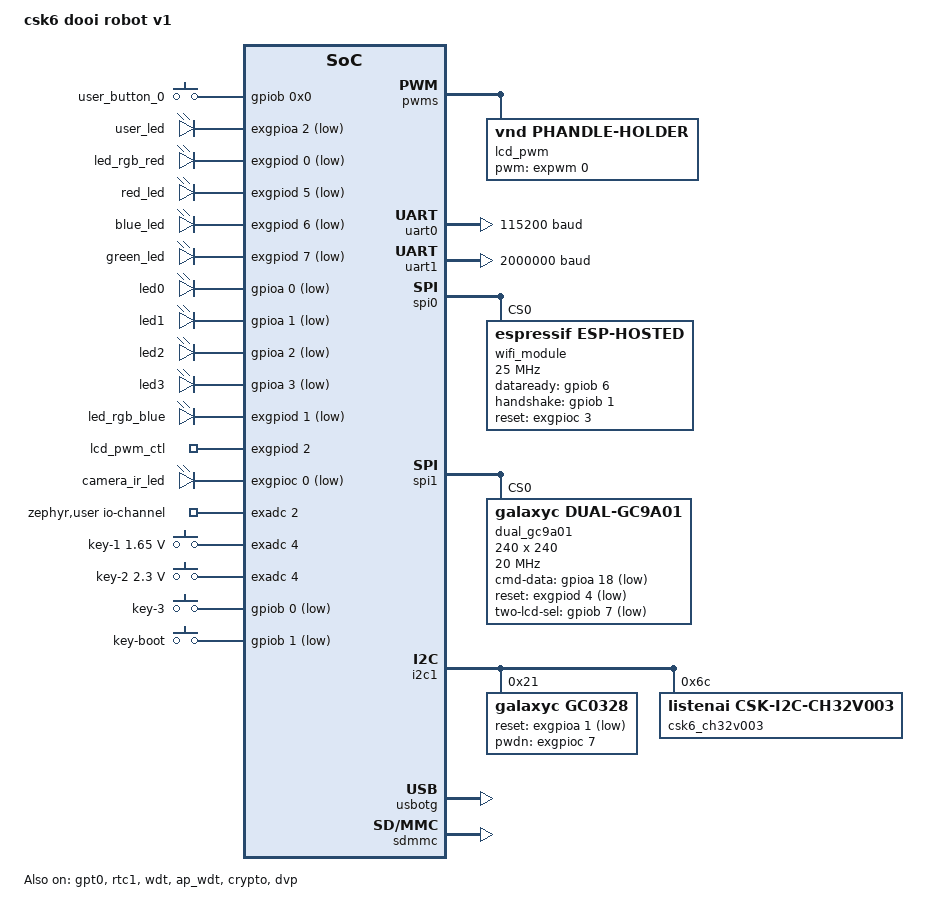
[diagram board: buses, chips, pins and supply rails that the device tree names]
/* SPDX-License-Identifier: Apache-2.0 */

/dts-v1/;
#include <csk/csk6011a.dtsi>
#include <zephyr/dt-bindings/dt-util.h>
#include <zephyr/dt-bindings/adc/adc.h>
#include <zephyr/dt-bindings/pwm/pwm.h>
#include <zephyr/dt-bindings/gpio/gpio.h>
#include <zephyr/dt-bindings/input/input-event-codes.h>
#include "csk6_dooi_robot_v1_pinctrl.dtsi"

/ {
        model = "csk6 dooi robot v1";
        compatible = "csk,csk6_dooi_robot_v1";

        chosen {
                zephyr,console = &uart0;
                zephyr,shell-uart = &uart0;
                zephyr,sram = &sram0;
                zephyr,itcm = &itcm0;
                zephyr,dtcm = &dtcm0;
                zephyr,flash = &flash0;
                zephyr,flash_controller = &flash;
                zephyr,entropy = &trng;
                zephyr,display=&dual_gc9a01;
                /* other chosen settings for your hardware */
        };

        aliases {
                sw0 = &user_button_0;
                csk6-exmcu = &csk6_ch32v003;   
                led-rgb-red = &led_rgb_red;
                led-rgb-blue = &led_rgb_blue;                
                lcd-pwm-ctl = &lcd_pwm_ctl;
                camera-ir-led = &camera_ir_led;
                user-led = &user_led;
                red-led = &red_led;
                blue-led = &blue_led;
                green-led = &green_led;
                led0 = &led0;
                led1 = &led1;
                led2 = &led2;
                led3 = &led3;
                
        };

        /*
         * Your board-specific hardware: buttons, LEDs, sensors, etc.
         */

        gpio_keys {
                compatible = "gpio-keys";
                user_button_0: button_0 {
                        gpios = <&gpiob 0x0 0x0>;
                };
        };

        leds {
                compatible = "gpio-leds";
                user_led: user_led {
                        gpios = <&exgpioa 2 GPIO_ACTIVE_LOW>;
                };
                led_rgb_red: led_rgb_red {
                        gpios = <&exgpiod 0 GPIO_ACTIVE_LOW>;
                };
                red_led: red_led {
                        gpios = <&exgpiod 5 GPIO_ACTIVE_LOW>;
                };
                blue_led: blue_led {
                        gpios = <&exgpiod 6 GPIO_ACTIVE_LOW>;
                };                                
                green_led: green_led {
                        gpios = <&exgpiod 7 GPIO_ACTIVE_LOW>;
                };
                led0: led0 {
                        gpios = <&gpioa 0 GPIO_ACTIVE_LOW>;
                };                
                led1: led1 {
                        gpios = <&gpioa 1 GPIO_ACTIVE_LOW>;
                };   
                led2: led2 {
                        gpios = <&gpioa 2 GPIO_ACTIVE_LOW>;
                }; 
                led3: led3 {
                        gpios = <&gpioa 3 GPIO_ACTIVE_LOW>;
                };                                            
                led_rgb_blue: led_rgb_blue {
                        gpios = <&exgpiod 1 GPIO_ACTIVE_LOW>;
                };                
                lcd_pwm_ctl: lcd_pwm_ctl {
                        gpios = <&exgpiod 2 GPIO_ACTIVE_HIGH>;
                };
                camera_ir_led: camera_ir_led {
                        gpios = <&exgpioc 0 GPIO_ACTIVE_LOW>;
                };
        };
        
        /**
         *
         * external adc channel map
         *
         * CH0 --> PA2
         * CH1 --> PA1
         * CH2 --> PC4
         * CH3 --> PD2
         * CH4 --> PD3
         * CH5 --> PD5
         * CH6 --> PD6
         * CH7 --> PD4
         *
         */
        zephyr,user {
                io-channels = <&exadc 2>;
        };

        pwms {
                lcd_pwm: lcd_pwm {
                        compatible = "vnd,phandle-holder";
                        status = "okay";
                        pwms = <&expwm 0 12 0x1 100>;
                };
        };

        adckey: adckey {
                compatible = "adc-keys";
                io-channels = <&exadc 4>;
                keyup-threshold-mv = <0>;
                press-thresholds-mv = <1650 (BIT(0))>,
                                      <2300 (BIT(1))>,
                                      <2536 (BIT(0) | BIT(1))>;
        };
        
        inputs {
                adc-keys {
                        compatible = "zephyr,adc-keys";
                        io-channels = <&exadc 4>;
                        sample-period-ms = <100>;  
                        keyup-threshold-mv = <0>;

                        key-1 {
                                press-thresholds-mv = <1650>,  /* K1 */
                                                      <2536>;  /* K1 + K2 */
                                zephyr,code = <INPUT_KEY_1>;
                        };

                        key-2 {
                                press-thresholds-mv = <2300>,  /* K2 */
                                                      <2536>;  /* K1 + K2 */
                                zephyr,code = <INPUT_KEY_2>;
                        };
                };
                        
                gpio-keys {
                        compatible = "zephyr,gpio-keys";

                        key-3 {
                                gpios = <&gpiob 0 GPIO_ACTIVE_LOW>;
                                zephyr,code = <INPUT_KEY_3>;
                        };

                        key-boot {
                                gpios = <&gpiob 1 GPIO_ACTIVE_LOW>;
                                zephyr,code = <INPUT_KEY_B>;
                        };
                };
        };
};

&gpt0 {
        status = "okay";
};

&gpioa {
        status = "okay";
};

&gpiob {
        status = "okay";
};

&uart0 {
        pinctrl-0 = <&pinctrl_uart0_rx_default &pinctrl_uart0_tx_default>;
        pinctrl-names = "default";
        current-speed = <115200>;
        status = "okay";
};

&uart1 {
        status = "disabled";
};

&uart2 {
        status = "disabled";
};

&spi0 {
        pinctrl-0 = <&pinctrl_spi0_sclk_default &pinctrl_spi0_mosi_default &pinctrl_spi0_miso_default &pinctrl_spi0_cs_default>;
        pinctrl-names = "default";
        status = "okay";
        wifi_module: esp32c3@0 {
                compatible = "espressif,esp-hosted";
                spi-max-frequency = <25000000>;
                reg = <0>;
                dataready-gpios = <&gpiob 6 0>;
                handshake-gpios = <&gpiob 1 0>;
                reset-gpios = <&exgpioc 3 0>;
                status = "okay";
        };
};

&spi1 {
        status = "disabled";
};

&i2c0 {
        status = "disabled";
};

&i2c1 {
        status = "disabled";
};

&mailbox0 {
        status = "okay";
};

&dma0 {
        dma-channels = <6>;
        status = "okay";
};

&rtc1 {
        status = "okay";
};

&flash0 {
        /*
         * For more information, see:
         * http: //docs.zephyrproject.org/latest/guides/dts/index.html#flash-partitions
         */
        reg = <0x18000000 DT_SIZE_M(16)>;
        write-block-size = <4>;
        erase-block-size = <4096>;
        partitions {
                compatible = "fixed-partitions";
                #address-cells = <1>;
                #size-cells = <1>;

                /* wifi driver private storage: 8Kb */
                wifi_driver_storage: partition@6ee000 {
                        reg = <0x6ee000 0x2000>;
                };

                /* wifi_nvs_storage: 20Kb */
                wifi_nvs_storage: partition@6F0000 {
                        reg = <0x6F0000 0x10000>;
                };

                /* storage: 6.625MB for storage */
                storage_partition: partition@700000 {
                        reg = <0x700000 0x100000>;
                };

                /*The last 4K of flash is used for capability authentication, do not modify it*/
                reserve_partition: partition@fff000{
                        label = "reserve_capability_authentication";
                        reg = <0xfff000 0x1000>;          
                };
        };
};

&sram0 {
        reg = <0x80000 DT_SIZE_K(256)>;
};

&psram0 {
        reg = <0x30000000 DT_SIZE_M(8)>;
        #address-cells = <1>;
        #size-cells = <1>;

        /*psram for cp core slot: 6MB */
        psram_cp: psram_cp@30000000 {
                compatible = "listenai,csk6-psram-partition";
                reg = <0x30000000 0x600000>;
                status = "okay";
        };

        /*psram for ap core slot: 1MB */
        psram_ap: psram_ap@30600000 {
                compatible = "zephyr,memory-region",
                             "listenai,csk6-psram-partition";
                reg = <0x30600000 0x100000>;
                status = "okay";
                zephyr,memory-region = "PSRAMAP";
        };

        /*psram for ap share with cp slot: 512KB */
        psram_share: psram_share@30700000 {
                compatible = "listenai,csk6-psram-partition";
                reg = <0x30700000 0x80000>;
                status = "okay";
        };
};

zephyr_udc0: &usbotg {
        status = "okay";
        num-bidir-endpoints = <6>;
        num-in-endpoints = <6>;
        num-out-endpoints = <6>;
};

&wdt {
        status = "okay";
};

&ap_wdt {
        status = "okay";
};

&adc0 {
        status = "disabled";
};

&crypto {
        status = "okay";
};

&sdmmc {
        status = "okay";
        bit-bus = <4>;
        pinctrl-0 = <
        &pinctrl_sdio_cmd_default
        &pinctrl_sdio_clk_default
        &pinctrl_sdio_dat0_default
        &pinctrl_sdio_dat1_default
        &pinctrl_sdio_dat2_default
        &pinctrl_sdio_dat3_default
        >;
        pinctrl-names = "default";
};

&pinctrl {
        pinctrl_dvp_clkout_default: dvp_clkout_default{
                pinctrls = <CLKP_OUT_GPIOA_11>;
        };

        pinctrl_dvp_vsync_default: dvp_vsync_default{
                pinctrls = <I_V_SYNC_GPIOA_14>;
        };

        pinctrl_dvp_hsync_default: dvp_hync_default{
                pinctrls = <I_H_SYNC_GPIOA_13>;
        };

        pinctrl_dvp_pclk_default: dvp_pclk_default{
                pinctrls = <I_PIXEL_CLK_GPIOA_12>;
        };

        pinctrl_dvp_d4_default: dvp_d4_default{
                pinctrls = <I_PIXEL_DATA4_GPIOA_04>;
        };

        pinctrl_dvp_d5_default: dvp_d5_default{
                pinctrls = <I_PIXEL_DATA5_GPIOA_05>;
        };

        pinctrl_dvp_d6_default: dvp_d6_default{
                pinctrls = <I_PIXEL_DATA6_GPIOA_06>;
        };

        pinctrl_dvp_d7_default: dvp_d7_default{
                pinctrls = <I_PIXEL_DATA7_GPIOA_10>;
        };


        pinctrl_dvp_d8_default: dvp_d8_default{
                pinctrls = <I_PIXEL_DATA8_GPIOA_19>;
        };


        pinctrl_dvp_d9_default: dvp_d9_default{
                pinctrls = <I_PIXEL_DATA9_GPIOA_20>;
        };


        pinctrl_dvp_d10_default: dvp_d10_default{
                pinctrls = <I_PIXEL_DATA10_GPIOA_08>;
        };


        pinctrl_dvp_d11_default: dvp_d11_default{
                pinctrls = <I_PIXEL_DATA11_GPIOA_09>;
        };

        pinctrl_i2c1_scl_default: i2c1_scl_default{
                pinctrls = <I2C1_SCL_GPIOB_09>;
        };

        pinctrl_i2c1_sda_default: i2c1_sda_default{
                pinctrls = <I2C1_SDA_GPIOB_08>;
        };

        pinctrl_spi1_sclk_default: spi1_sclk_default {
                pinctrls = <SPI1_CLK_GPIOA_16>;
        };
        pinctrl_spi1_mosi_default: spi1_mosi_default {
                pinctrls = <SPI1_MOSI_GPIOA_15>;
        };
        pinctrl_spi1_cs_default: spi1_cs_default {
                pinctrls = <SPI1_CS_N_GPIOA_17>;
        };
};

&dvp {
        status = "okay";
        sensor = <&gc0328>;
        clock-prescaler = <20>;
        data-align-type = "high_align";
        pclk-polarity = "post_edge_sampling";
        hsync-polarity = "active_high";
        vsync-polarity = "active_low";

        pinctrl-0 = <
        &pinctrl_dvp_clkout_default
        &pinctrl_dvp_vsync_default
        &pinctrl_dvp_hsync_default
        &pinctrl_dvp_pclk_default
        &pinctrl_dvp_d4_default
        &pinctrl_dvp_d5_default
        &pinctrl_dvp_d6_default
        &pinctrl_dvp_d7_default
        &pinctrl_dvp_d8_default
        &pinctrl_dvp_d9_default
        &pinctrl_dvp_d10_default
        &pinctrl_dvp_d11_default
        >;
        pinctrl-names = "default";

};

&uart1 {
        pinctrl-0 = <&pinctrl_uart1_tx_default>;
        pinctrl-names = "default";
        current-speed = <2000000>;
        status = "okay";
};


&i2c1 {
        status = "okay";
        pinctrl-0 = <&pinctrl_i2c1_scl_default &pinctrl_i2c1_sda_default>;
        pinctrl-names = "default";

	gc0328: gc0328@21 {
		compatible = "galaxyc,gc0328";
		status = "okay";
		reg = <0x21>;
		reset-gpios = <&exgpioa 1 1>;
    pwdn-gpios = <&exgpioc 7 0>;
	};

        ft5336: ft5336@38 {
                compatible = "focaltech,ft5336";
                reg = <0x38>;
                status = "disabled";
                int-gpios = <&gpiob 7 0>;
                reset-gpios = <&exgpiod 3 1>;
        };

        csk6_ch32v003: csk6_ch32v003@6c {
                /**
                 * Please make sure that the external MCU firmware has been loaded
                 * SCL --> external MCU PC5
                 * SDA --> external MCU PC6
                 */
                compatible = "listenai,csk-i2c-ch32v003";
                reg = <0x6c>;
                status = "okay";
                #address-cells = <1>;
                #size-cells = <0>;

                /* CH32V003-GPIOA */
                exgpioa: gpio@0 {
                        compatible = "listenai,csk-gpio-ch32003-port";
                        reg = <0x00>;
                        status = "okay";
                        ngpios = <8>;
                        #gpio-cells = <2>;
                        gpio-controller;
                        pin_mask = <0x00>;
                };

                /* CH32V003-GPIOB */
                exgpiob: gpio@1 {
                        compatible = "listenai,csk-gpio-ch32003-port";
                        reg = <0x01>;
                        status = "okay";
                        ngpios = <8>;
                        #gpio-cells = <2>;
                        gpio-controller;
                        pin_mask = <0x00>;
                };

                /* CH32V003-GPIOC */
                exgpioc: gpio@2 {
                        compatible = "listenai,csk-gpio-ch32003-port";
                        reg = <0x02>;
                        status = "okay";
                        ngpios = <8>;
                        #gpio-cells = <2>;
                        gpio-controller;
                        pin_mask = <0x00>;
                };

                /* CH32V003-GPIOD */
                exgpiod: gpio@3 {
                        compatible = "listenai,csk-gpio-ch32003-port";
                        reg = <0x03>;
                        status = "okay";
                        ngpios = <8>;
                        #gpio-cells = <2>;
                        gpio-controller;
                        pin_mask = <0x00>;
                };

                exadc: adc@4 {
                        /**
                         * external adc channel map
                         *
                         * CH0 --> PA2
                         * CH1 --> PA1
                         * CH2 --> PC4
                         * CH3 --> PD2
                         * CH4 --> PD3
                         * CH5 --> PD5
                         * CH6 --> PD6
                         * CH7 --> PD4
                         *
                         */

                        compatible = "listenai,csk-adc-ch32v003";
                        reg = <0x4>;
                        status = "okay";
                        #io-channel-cells = <1>;
                        #address-cells = <1>;
                        #size-cells = <0>;

                        channel@2 {
                                reg = <2>;
                                zephyr,gain = "ADC_GAIN_1";
                                zephyr,reference = "ADC_REF_INTERNAL";
                                zephyr,acquisition-time = <ADC_ACQ_TIME_DEFAULT>;
                                zephyr,resolution = <10>;
                        };
                };

                expwm: pwm-controller@5 {
                        compatible = "listenai,csk-ch32v003-pwm";
                        reg = <0x5>;
                        status = "okay";
                        clock-prescaler = <480>;
                        clock-frequency = <48000000>;
                        #pwm-cells = <4>;
                };
        };
};

&spi1 {
        status = "okay";
        pinctrl-0 = <&pinctrl_spi1_sclk_default &pinctrl_spi1_mosi_default &pinctrl_spi1_cs_default>;
        pinctrl-names = "default";
        
//        gc9d01: gc9d01@0 {
//                status = "disabled";
//                compatible = "galaxyc,gc9d01";
//                spi-max-frequency = <20000000>;
//                reg = <0>;
//                cmd-data-gpios = <&gpioa 18 1>;
//                reset-gpios = <&exgpiod 4 1>;
//                width = <160>;
//                height = <160>;
//                x-offset = <0>;
//                y-offset = <0>;
//                // reg: 0x36
//                mdac = <0x00>;      //Normal mode
//                // reg: 0x3a
//                colmod = <0x05>;    //RGB565
//        };    
        
        dual_gc9a01: dual_gc9a01@0 {
                status = "okay";
                compatible = "galaxyc,dual-gc9a01";
                spi-max-frequency = <20000000>;
                reg = <0>;
                cmd-data-gpios = <&gpioa 18 1>;
                reset-gpios = <&exgpiod 4 1>;
                two-lcd-sel-gpios = <&gpiob 7 1>;
                width = <240>;
                height = <240>;
                x-offset = <0>;
                y-offset = <0>;
                // reg: 0x36
                mdac = <0x08>;      //Normal mode
                // reg: 0x3a
                colmod = <0x05>;    //RGB565
        };
        
};
